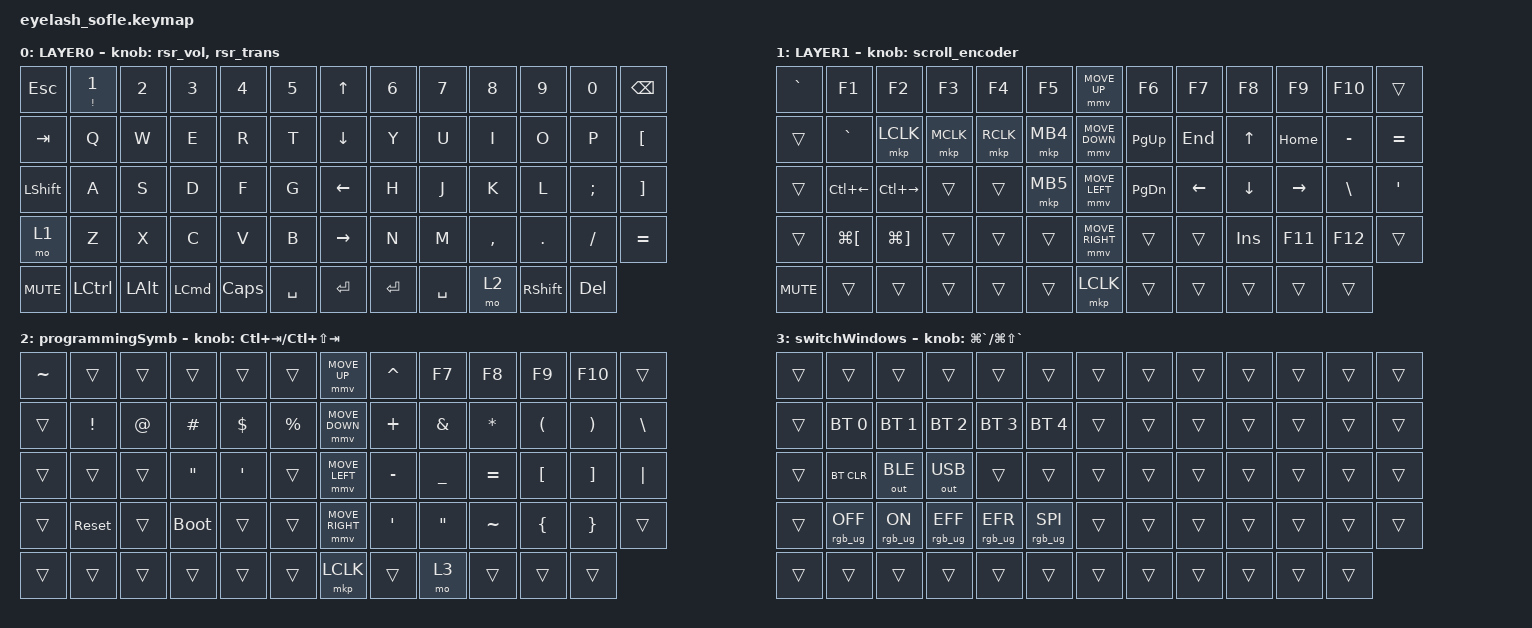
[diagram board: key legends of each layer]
#define ZMK_POINTING_DEFAULT_MOVE_VAL 3000  // 600
#define ZMK_POINTING_DEFAULT_SCRL_VAL 20    // 10

#include <input/processors.dtsi>
#include <zephyr/dt-bindings/input/input-event-codes.h>
#include <behaviors.dtsi>
#include <behaviors/runtime-sensor-rotate.dtsi>
#include <dt-bindings/zmk/bt.h>
#include <dt-bindings/zmk/keys.h>
#include <dt-bindings/zmk/outputs.h>
#include <dt-bindings/zmk/pointing.h>
#include <dt-bindings/zmk/rgb.h>

&mmv_input_listener { input-processors = <&zip_xy_scaler 2 1>; };

&msc_input_listener { input-processors = <&zip_scroll_scaler 2 1>; };

&msc {
    acceleration-exponent = <2>;      // 0
    time-to-max-speed-ms = <400>;      // 500
    delay-ms = <0>;                   //   10
};

&mmv {
    acceleration-exponent = <2>;      // 1
    time-to-max-speed-ms = <400>;    // 40
    delay-ms = <0>;                   // 0
};

&soft_off { hold-time-ms = <2000>; };

/ {
    scroll_encoder: scroll_encoder {
        compatible = "zmk,behavior-sensor-rotate";
        #sensor-binding-cells = <0>;
        bindings = <&msc SCRL_DOWN>, <&msc SCRL_UP>;

        tap-ms = <30>;
    };

    behaviors {
        rsr_vol: rsr_vol {
            compatible = "zmk,behavior-runtime-sensor-rotate";
            #sensor-binding-cells = <0>;
            tap-ms = <5>;
            cw-binding = <&kp C_VOL_UP>;
            ccw-binding = <&kp C_VOL_DN>;
        };

        rsr_trans: rsr_trans {
            compatible = "zmk,behavior-runtime-sensor-rotate";
            #sensor-binding-cells = <0>;
            tap-ms = <0>;
        };
    };

    combos {
        compatible = "zmk,combos";

        softoff {
            bindings = <&soft_off>;
            key-positions = <14 28 40>;
        };
    };

    keymap {
        compatible = "zmk,keymap";

        layer0 {
            bindings = <
&kp ESC         &mt EXCLAMATION N1  &kp N2        &kp N3            &kp N4        &kp N5       &kp UP_ARROW     &kp N6     &kp N7     &kp N8     &kp N9           &kp N0      &kp BACKSPACE
&kp TAB         &kp Q               &kp W         &kp E             &kp R         &kp T        &kp DOWN_ARROW   &kp Y      &kp U      &kp I      &kp O            &kp P       &kp LEFT_BRACKET
&kp LEFT_SHIFT  &kp A               &kp S         &kp D             &kp F         &kp G        &kp LEFT_ARROW   &kp H      &kp J      &kp K      &kp L            &kp SEMI    &kp RIGHT_BRACKET
&mo 1           &kp Z               &kp X         &kp C             &kp V         &kp B        &kp RIGHT_ARROW  &kp N      &kp M      &kp COMMA  &kp DOT          &kp FSLH    &kp EQUAL
&kp C_MUTE      &kp LCTRL           &kp LEFT_ALT  &kp LEFT_COMMAND  &kp CAPSLOCK  &kp SPACE    &kp ENTER        &kp ENTER  &kp SPACE  &mo 2      &kp RIGHT_SHIFT  &kp DELETE
            >;

            sensor-bindings = <&rsr_vol &rsr_trans>;
            display-name = "LAYER0";
        };

        arrows {
            bindings = <
&kp GRAVE   &kp F1                &kp F2                 &kp F3     &kp F4     &kp F5      &mmv MOVE_UP     &kp F6     &kp F7    &kp F8      &kp F9     &kp F10    &trans
&trans      &kp GRAVE             &mkp LCLK              &mkp MCLK  &mkp RCLK  &mkp MB4    &mmv MOVE_DOWN   &kp PG_UP  &kp END   &kp UP      &kp HOME   &kp MINUS  &kp EQUAL
&trans      &kp LC(LEFT)          &kp LC(RIGHT)          &trans     &trans     &mkp MB5    &mmv MOVE_LEFT   &kp PG_DN  &kp LEFT  &kp DOWN    &kp RIGHT  &kp BSLH   &kp APOS
&trans      &kp LG(LEFT_BRACKET)  &kp LG(RIGHT_BRACKET)  &trans     &trans     &trans      &mmv MOVE_RIGHT  &trans     &trans    &kp INSERT  &kp F11    &kp F12    &trans
&kp C_MUTE  &trans                &trans                 &trans     &trans     &trans      &mkp LCLK        &trans     &trans    &trans      &trans     &trans
            >;

            display-name = "LAYER1";
            sensor-bindings = <&scroll_encoder>;
        };

        programmingSymb {
            bindings = <
&kp TILDE  &trans      &trans  &trans             &trans            &trans         &mmv MOVE_UP     &kp CARET         &kp F7             &kp F8     &kp F9                &kp F10                &trans
&trans     &kp EXCL    &kp AT  &kp HASH           &kp DOLLAR        &kp PERCENT    &mmv MOVE_DOWN   &kp PLUS          &kp AMPS           &kp STAR   &kp LEFT_PARENTHESIS  &kp RIGHT_PARENTHESIS  &kp BACKSLASH
&trans     &trans      &trans  &kp DOUBLE_QUOTES  &kp SINGLE_QUOTE  &trans         &mmv MOVE_LEFT   &kp MINUS         &kp UNDER          &kp EQUAL  &kp LEFT_BRACKET      &kp RIGHT_BRACKET      &kp PIPE
&trans     &sys_reset  &trans  &bootloader        &trans            &trans         &mmv MOVE_RIGHT  &kp SINGLE_QUOTE  &kp DOUBLE_QUOTES  &kp TILDE  &kp LEFT_BRACE        &kp RIGHT_BRACE        &trans
&trans     &trans      &trans  &trans             &trans            &trans         &mkp LCLK        &trans            &mo 3              &trans     &trans                &trans
            >;

            sensor-bindings = <&inc_dec_kp LC(TAB) LC(LS(TAB))>;
        };

        switchWindows {
            bindings = <
&trans  &trans           &trans          &trans           &trans           &trans             &trans  &trans  &trans  &trans  &trans  &trans  &trans
&trans  &bt BT_SEL 0     &bt BT_SEL 1    &bt BT_SEL 2     &bt BT_SEL 3     &bt BT_SEL 4       &trans  &trans  &trans  &trans  &trans  &trans  &trans
&trans  &bt BT_CLR       &out OUT_BLE    &out OUT_USB     &trans           &trans             &trans  &trans  &trans  &trans  &trans  &trans  &trans
&trans  &rgb_ug RGB_OFF  &rgb_ug RGB_ON  &rgb_ug RGB_EFF  &rgb_ug RGB_EFR  &rgb_ug RGB_SPI    &trans  &trans  &trans  &trans  &trans  &trans  &trans
&trans  &trans           &trans          &trans           &trans           &trans             &trans  &trans  &trans  &trans  &trans  &trans
            >;

            sensor-bindings = <&inc_dec_kp LG(GRAVE) LG(LS(GRAVE))>;
        };
    };
};
